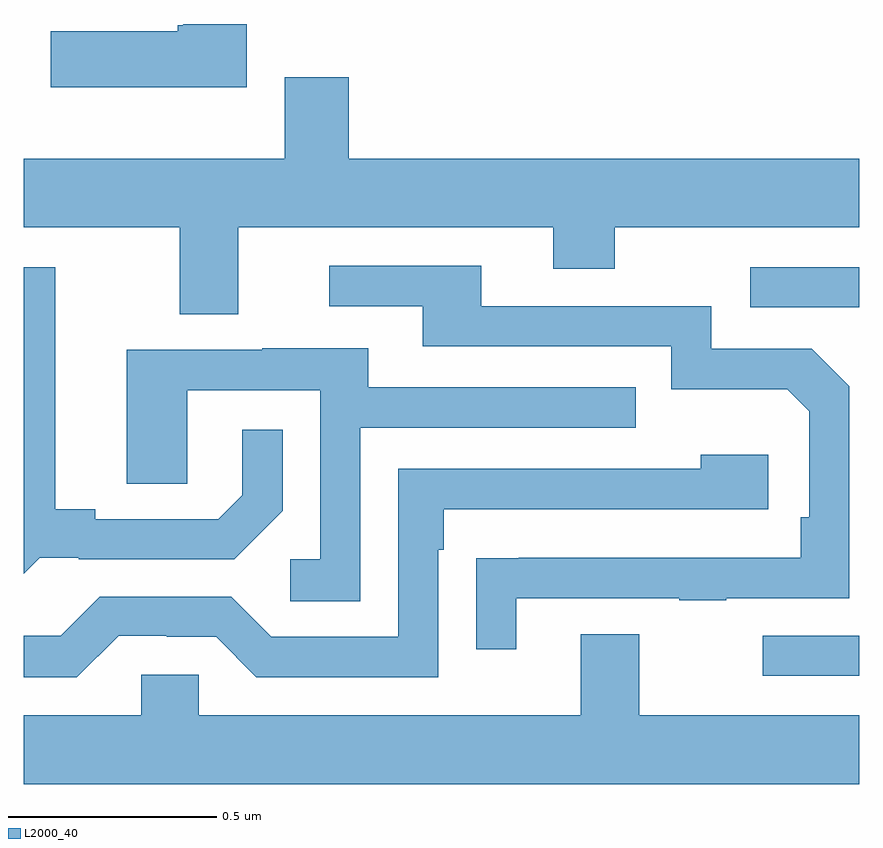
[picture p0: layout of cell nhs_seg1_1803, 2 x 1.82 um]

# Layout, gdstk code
import gdstk
lib = gdstk.Library(unit=1e-6, precision=1e-09)
def R(c, l, rs):  # rectangles x0, y0, x1, y1
    for r in rs: c.add(gdstk.rectangle(r[:2], r[2:], *l))
def P(c, l, *ps):  # polygons
    for p in ps: c.add(gdstk.Polygon(p, *l))
L2000_40 = (2000, 40)

nhs_seg1_1803 = lib.new_cell('nhs_seg1_1803')
R(nhs_seg1_1803, L2000_40, [(134.769,570.639,135,570.735), (134.739,571.521,135,571.617)])
P(nhs_seg1_1803, L2000_40, [(133.534,572.199),(133.382,572.199),(133.382,572.196),(133.369,572.196),(133.369,572.182),(133.065,572.182),(133.065,572.048),(133.534,572.048)],
  [(133.513,571.712),(134.267,571.712),(134.267,571.613),(134.415,571.613),(134.415,571.712),(135,571.712),(135,571.876),(133.778,571.876),(133.778,572.071),(133.625,572.071),(133.625,571.876),(133,571.876),(133,571.712),(133.373,571.712),(133.373,571.504),(133.513,571.504)],
  [(134.179,570.825),(134.569,570.825),(134.569,570.82),(134.681,570.82),(134.681,570.825),(134.976,570.825),(134.976,571.332),(134.886,571.422),(134.646,571.422),(134.646,571.524),(134.095,571.524),(134.095,571.62),(133.731,571.62),(133.731,571.524),(133.955,571.524),(133.955,571.428),(134.55,571.428),(134.55,571.325),(134.827,571.325),(134.88,571.272),(134.88,571.018),(134.86,571.018),(134.86,570.921),(134.185,570.921),(134.185,570.92),(134.083,570.92),(134.083,570.702),(134.179,570.702)],
  [(133.038,570.921),(133.132,570.921),(133.132,570.918),(133.504,570.918),(133.62,571.034),(133.62,571.228),(133.523,571.228),(133.523,571.071),(133.466,571.014),(133.171,571.014),(133.171,571.037),(133.075,571.037),(133.075,571.617),(133,571.617),(133,570.883)],
  [(133.806,571.233),(134.465,571.233),(134.465,571.329),(133.825,571.329),(133.825,571.423),(133.571,571.423),(133.571,571.419),(133.247,571.419),(133.247,571.099),(133.392,571.099),(133.392,571.323),(133.71,571.323),(133.71,570.918),(133.638,570.918),(133.638,570.817),(133.806,570.817)],
  [(133.227,570.735),(133.343,570.735),(133.343,570.732),(133.461,570.732),(133.557,570.636),(133.992,570.636),(133.992,570.941),(134.005,570.941),(134.005,571.038),(134.782,571.038),(134.782,571.168),(134.621,571.168),(134.621,571.134),(133.896,571.134),(133.896,570.732),(133.593,570.732),(133.497,570.828),(133.182,570.828),(133.089,570.735),(133,570.735),(133,570.635),(133.127,570.635)],
  [(135,570.544),(134.473,570.544),(134.473,570.739),(134.333,570.739),(134.333,570.544),(133.419,570.544),(133.419,570.642),(133.281,570.642),(133.281,570.544),(133,570.544),(133,570.38),(135,570.38)])

lib.write_gds('nhs_seg1_1803.gds')
